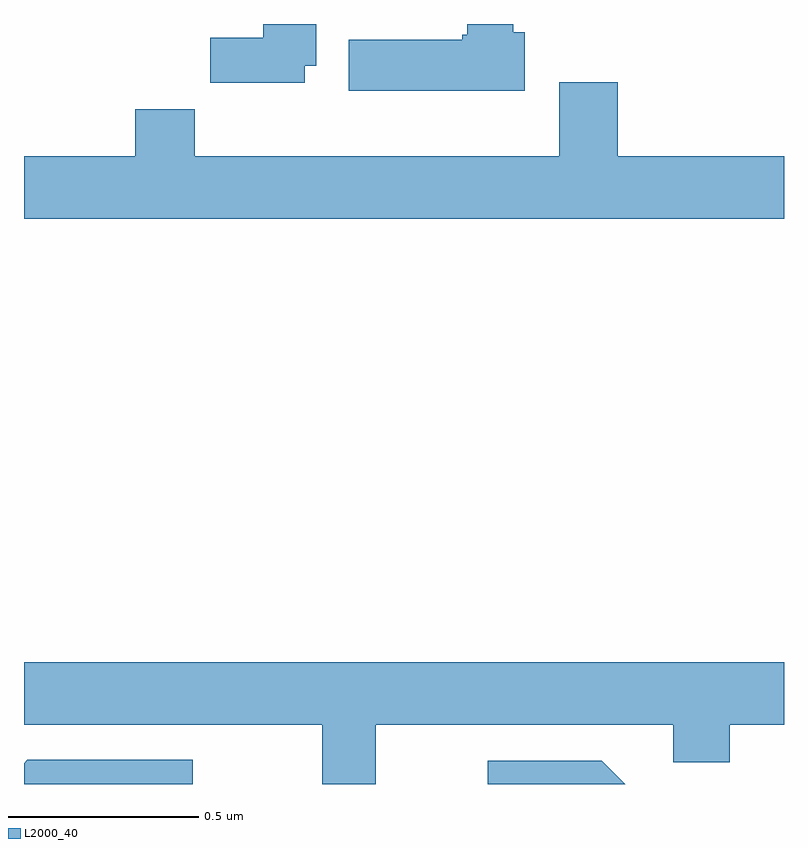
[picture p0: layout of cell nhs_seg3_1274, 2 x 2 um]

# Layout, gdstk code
import gdstk
lib = gdstk.Library(unit=1e-6, precision=1e-09)
def P(c, l, *ps):  # polygons
    for p in ps: c.add(gdstk.Polygon(p, *l))
L2000_40 = (2000, 40)

nhs_seg3_1274 = lib.new_cell('nhs_seg3_1274')
P(nhs_seg3_1274, L2000_40, [(127.318,729.378),(127.288,729.378),(127.288,729.4),(127.166,729.4),(127.166,729.372),(127.153,729.372),(127.153,729.358),(126.854,729.358),(126.854,729.224),(127.318,729.224)],
  [(126.739,729.29),(126.769,729.29),(126.769,729.4),(126.629,729.4),(126.629,729.364),(126.49,729.364),(126.49,729.246),(126.739,729.246)],
  [(128,729.052),(127.562,729.052),(127.562,729.247),(127.409,729.247),(127.409,729.052),(126.449,729.052),(126.449,729.176),(126.293,729.176),(126.293,729.052),(126,729.052),(126,728.888),(128,728.888)],
  [(126.925,727.556),(127.709,727.556),(127.709,727.457),(127.857,727.457),(127.857,727.556),(128,727.556),(128,727.72),(126,727.72),(126,727.556),(126.785,727.556),(126.785,727.4),(126.925,727.4)],
  [(126.444,727.464),(126.009,727.464),(126,727.455),(126,727.4),(126.444,727.4)],
  [(127.521,727.461),(127.221,727.461),(127.221,727.4),(127.582,727.4)])

lib.write_gds('nhs_seg3_1274.gds')
